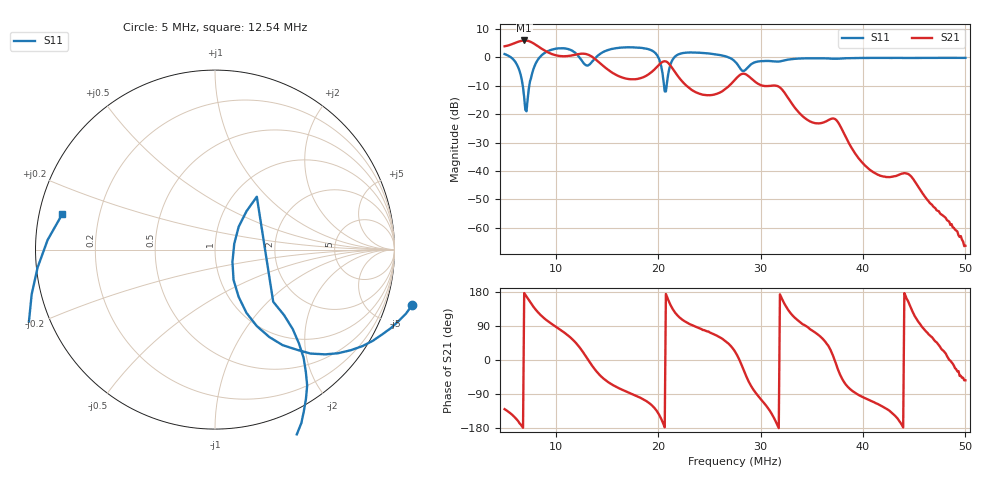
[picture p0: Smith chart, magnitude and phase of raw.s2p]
! S11/S21 only; reverse parameters are placeholders. Device calibration unverified.
! NanoVNA F V2 profile | COM3 | 2026-09-08T11:21:15.2810053-04:00 | device calibration unverified
# HZ S RI R 50
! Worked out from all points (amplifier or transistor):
!   401 points, 5 MHz to 50 MHz, reference 50 ohm
!   highest |S21| = 5.9 dB at 6.912 MHz (marker M1)
!   |S21| within 3 dB of that: start of sweep to 8.661 MHz
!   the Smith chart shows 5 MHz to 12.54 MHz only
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5000000  1.097 -0.3114  -1 -1.203  0 0  0 0
6012500  0.6141 -0.5836  -1.574 -0.8451  0 0  0 0
6912500  0.1032 -0.1684  -1.977 0.1182  0 0  0 0
7362500  0.1761 0.2148  -1.791 0.7219  0 0  0 0
8150000  0.5062 -0.6824  -1.02 1.25  0 0  0 0
1.04e7  -0.2275 -1.424  0.1738 1.039  0 0  0 0
1.14125e7  -0.8142 -1.086  0.536 0.9226  0 0  0 0
1.25375e7  -0.8511 0.1974  1.046 0.4983  0 0  0 0
1.34375e7  0.2994 0.7361  1.032 -0.1978  0 0  0 0
1.5125e7  1.342 -0.1523  0.3124 -0.5123  0 0  0 0
1.8275e7  1.103 -0.9729  -0.0736 -0.4228  0 0  0 0
2.0075e7  0.2566 -0.9052  -0.5946 -0.4363  0 0  0 0
2.10875e7  0.6261 0.1091  -0.6667 0.3594  0 0  0 0
2.26625e7  1.149 -0.3633  -0.0623 0.3225  0 0  0 0
2.75e7  0.5493 -0.6388  0.3731 0.1533  0 0  0 0
2.9075e7  0.7137 -0.2532  0.1542 -0.3968  0 0  0 0
3.155e7  0.7146 -0.4448  -0.3067 -0.0743  0 0  0 0
3.50375e7  0.7056 -0.657  0.0152 0.0701  0 0  0 0
3.72875e7  0.6078 -0.7203  0.0813 -0.00597  0 0  0 0
4.2575e7  0.4358 -0.8723  -0.00536 -0.00562  0 0  0 0
4.46e7  0.3617 -0.9035  -0.00668 0.005  0 0  0 0
5e7  0.1599 -0.9642  0.000286 -0.000387  0 0  0 0
